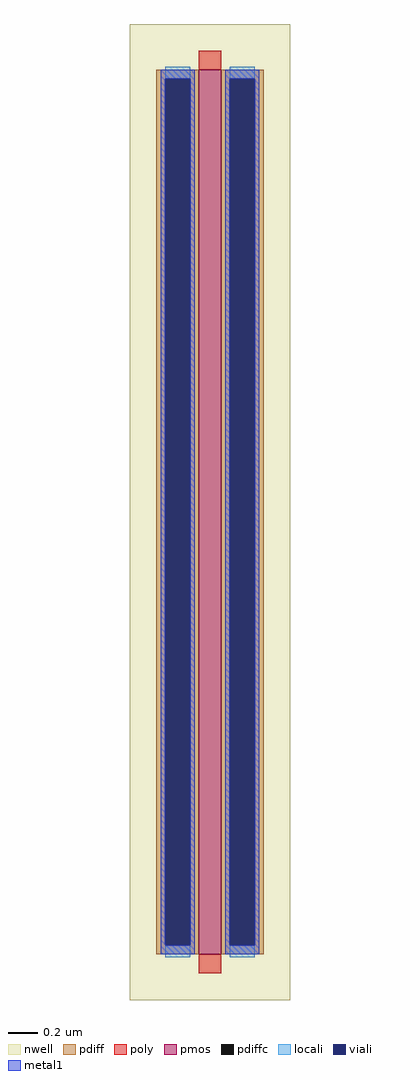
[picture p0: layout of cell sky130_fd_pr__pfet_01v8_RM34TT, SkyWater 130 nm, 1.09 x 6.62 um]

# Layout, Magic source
magic
tech sky130A
magscale 1 2
<< nwell >>
rect -109 -662 109 662
<< pmos >>
rect -15 -600 15 600
<< pdiff >>
rect -73 588 -15 600
rect -73 -588 -61 588
rect -27 -588 -15 588
rect -73 -600 -15 -588
rect 15 588 73 600
rect 15 -588 27 588
rect 61 -588 73 588
rect 15 -600 73 -588
<< pdiffc >>
rect -61 -588 -27 588
rect 27 -588 61 588
<< poly >>
rect -15 600 15 626
rect -15 -626 15 -600
<< locali >>
rect -61 588 -27 604
rect -61 -604 -27 -588
rect 27 588 61 604
rect 27 -604 61 -588
<< viali >>
rect -61 -588 -27 588
rect 27 -588 61 588
<< metal1 >>
rect -67 588 -21 600
rect -67 -588 -61 588
rect -27 -588 -21 588
rect -67 -600 -21 -588
rect 21 588 67 600
rect 21 -588 27 588
rect 61 -588 67 588
rect 21 -600 67 -588
<< properties >>
string gencell sky130_fd_pr__pfet_01v8
string library sky130
string parameters w 6 l 0.15 m 1 nf 1 diffcov 100 polycov 50 guard 0 glc 0 grc 0 gtc 0 gbc 0 tbcov 100 rlcov 100 topc 0 botc 0 poverlap 0 doverlap 0 lmin 0.15 wmin 0.42 compatible {sky130_fd_pr__pfet_01v8  sky130_fd_pr__pfet_01v8_lvt sky130_fd_pr__pfet_01v8_hvt  sky130_fd_pr__pfet_g5v0d10v5} full_metal 0 viasrc 100 viadrn 100 viagate 100 viagb 0 viagr 0 viagl 0 viagt 0
<< end >>
